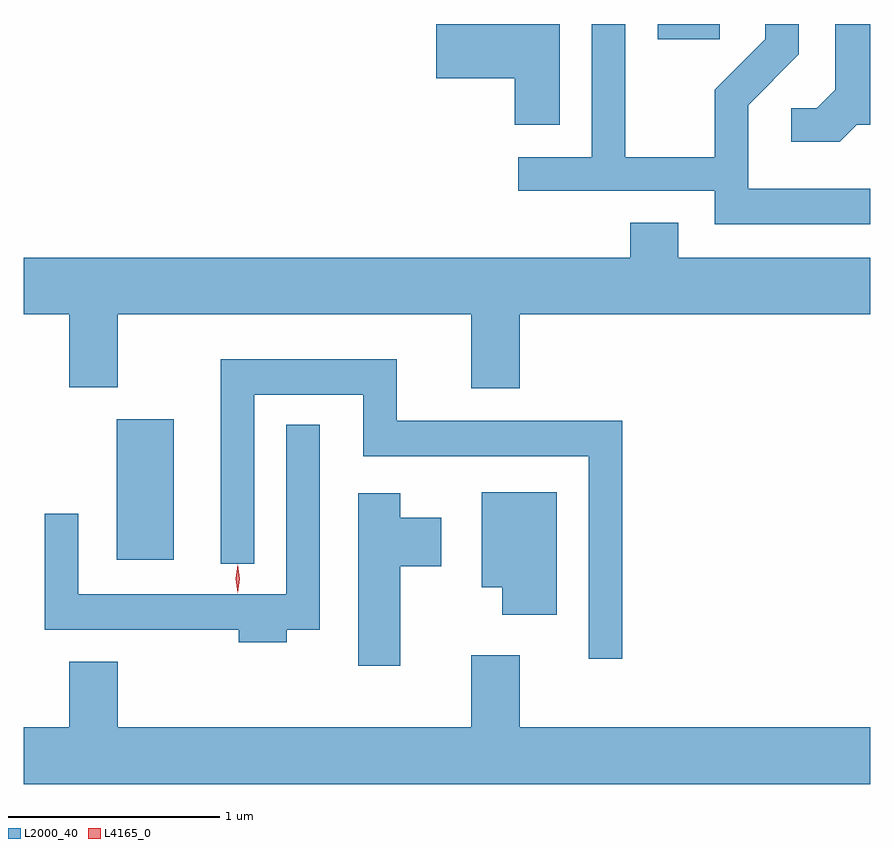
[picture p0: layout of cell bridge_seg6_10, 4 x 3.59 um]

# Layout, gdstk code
import gdstk
lib = gdstk.Library(unit=1e-6, precision=1e-09)
def R(c, l, rs):  # rectangles x0, y0, x1, y1
    for r in rs: c.add(gdstk.rectangle(r[:2], r[2:], *l))
def P(c, l, *ps):  # polygons
    for p in ps: c.add(gdstk.Polygon(p, *l))
L2000_40 = (2000, 40)
L4165_0 = (4165, 0)

bridge_seg6_10 = lib.new_cell('bridge_seg6_10')
R(bridge_seg6_10, L2000_40, [(1438.486,1650.996,1438.754,1651.659), (1441.041,1653.456,1441.334,1653.528)])
P(bridge_seg6_10, L2000_40, [(1440.579,1653.528),(1439.996,1653.528),(1439.996,1653.271),(1440.366,1653.271),(1440.366,1653.051),(1440.579,1653.051)],
  [(1441.982,1653.051),(1442.046,1653.051),(1442.046,1653.528),(1441.881,1653.528),(1441.881,1653.217),(1441.794,1653.129),(1441.673,1653.129),(1441.673,1652.971),(1441.902,1652.971)],
  [(1442.046,1652.749),(1441.469,1652.749),(1441.469,1653.144),(1441.709,1653.384),(1441.709,1653.528),(1441.551,1653.528),(1441.551,1653.457),(1441.311,1653.217),(1441.311,1652.899),(1440.889,1652.899),(1440.889,1653.528),(1440.731,1653.528),(1440.731,1652.899),(1440.383,1652.899),(1440.383,1652.741),(1441.311,1652.741),(1441.311,1652.581),(1442.046,1652.581)],
  [(1440.389,1652.156),(1442.046,1652.156),(1442.046,1652.424),(1441.139,1652.424),(1441.139,1652.589),(1440.911,1652.589),(1440.911,1652.424),(1438.046,1652.424),(1438.046,1652.156),(1438.261,1652.156),(1438.261,1651.811),(1438.489,1651.811),(1438.489,1652.156),(1440.161,1652.156),(1440.161,1651.806),(1440.389,1651.806)],
  [(1440.874,1651.654),(1439.809,1651.654),(1439.809,1651.944),(1438.976,1651.944),(1438.976,1650.978),(1439.134,1650.978),(1439.134,1651.776),(1439.651,1651.776),(1439.651,1651.486),(1440.716,1651.486),(1440.716,1650.528),(1440.874,1650.528)],
  [(1439.289,1650.666),(1439.444,1650.666),(1439.444,1651.633),(1439.286,1651.633),(1439.286,1650.834),(1438.304,1650.834),(1438.304,1651.213),(1438.146,1651.213),(1438.146,1650.666),(1439.061,1650.666),(1439.061,1650.606),(1439.289,1650.606)],
  [(1440.564,1651.314),(1440.211,1651.314),(1440.211,1650.866),(1440.306,1650.866),(1440.306,1650.736),(1440.564,1650.736)],
  [(1439.824,1650.966),(1440.019,1650.966),(1440.019,1651.194),(1439.824,1651.194),(1439.824,1651.309),(1439.626,1651.309),(1439.626,1650.496),(1439.824,1650.496)],
  [(1442.046,1650.204),(1440.389,1650.204),(1440.389,1650.544),(1440.161,1650.544),(1440.161,1650.204),(1438.489,1650.204),(1438.489,1650.514),(1438.261,1650.514),(1438.261,1650.204),(1438.046,1650.204),(1438.046,1649.936),(1442.046,1649.936)])
P(bridge_seg6_10, L4165_0, [(1439.057,1650.839),(1439.056,1650.84),(1439.047,1650.906),(1439.056,1650.972),(1439.056,1650.973),(1439.057,1650.972),(1439.067,1650.906),(1439.058,1650.84)])

lib.write_gds('bridge_seg6_10.gds')
